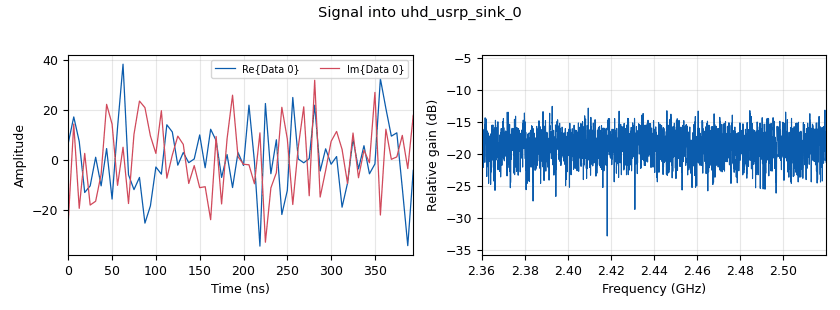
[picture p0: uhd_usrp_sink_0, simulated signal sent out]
options:
  parameters:
    author: Marcos
    generate_options: qt_gui
    id: Barrage_Jamming
    output_language: python
    title: Barrage_Jamming
  states: {}

blocks:
- name: banda
  id: variable
  parameters:
    value: 80e6
  states: {}
- name: frequencia
  id: variable
  parameters:
    value: '2440000000'
  states: {}
- name: samp_rate
  id: variable
  parameters:
    value: '160000000'
  states: {}
- name: analog_noise_source_x_0
  id: analog_noise_source_x
  parameters:
    amp: '20'
    noise_type: analog.GR_GAUSSIAN
    seed: '0'
    type: complex
  states: {}
- name: uhd_usrp_sink_0
  id: uhd_usrp_sink
  parameters:
    ant0: '"TX/RX"'
    bw0: banda
    center_freq0: frequencia
    clock_rate: '0.0'
    dev_args: '""'
    gain0: '1'
    gain_type0: normalized
    len_tag_name: ''
    samp_rate: samp_rate
    sd_spec0: A:A
    sync: pc_clock
    type: fc32
  states: {}

connections:
- [analog_noise_source_x_0, '0', uhd_usrp_sink_0, '0']

metadata:
  file_format: 1
  grc_version: 3.10.12.0
